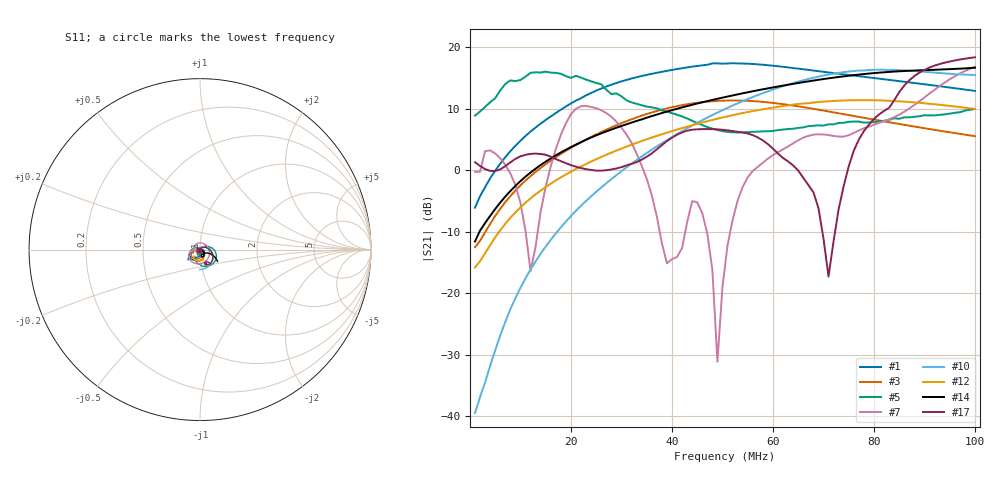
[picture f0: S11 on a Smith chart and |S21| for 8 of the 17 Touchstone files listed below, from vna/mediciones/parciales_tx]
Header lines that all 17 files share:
# HZ S RI R 50
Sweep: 1 MHz to 100 MHz
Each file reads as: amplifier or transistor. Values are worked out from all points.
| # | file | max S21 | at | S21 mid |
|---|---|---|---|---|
| 1 | t1__bga.s2p | 17.4 dB | 52 MHz | 17.4 dB at 51 MHz |
| 2 | t1__bga__fca_12v.s2p | 19.3 dB | 100 MHz | -13.2 dB at 51 MHz |
| 3 | t1__fca_12.s2p | 11.4 dB | 52 MHz | 11.4 dB at 51 MHz |
| 4 | t1__tx_amp_10v.s2p | 18.0 dB | 68 MHz | 17.2 dB at 51 MHz |
| 5 | t1__tx_amp_10v__fca_5v.s2p | 16.1 dB | 15 MHz | 6.3 dB at 51 MHz |
| 6 | t1__tx_amp_12v.s2p | 18.6 dB | 70 MHz | 17.5 dB at 51 MHz |
| 7 | t1__tx_amp_12v__fca_12v.s2p | 16.9 dB | 100 MHz | -12.2 dB at 51 MHz |
| 8 | t2__bga.s2p | 17.2 dB | 70 MHz | 15.4 dB at 51 MHz |
| 9 | t2__bga__fca_12v.s2p | 16.6 dB | 100 MHz | -13.6 dB at 51 MHz |
| 10 | t2__bga__t3.s2p | 16.4 dB | 82 MHz | 10.2 dB at 51 MHz |
| 11 | t2__bga__t3__fca12v.s2p | 18.1 dB | 100 MHz | 18.0 dB at 51 MHz |
| 12 | t2__fca_12v.s2p | 11.4 dB | 77 MHz | 8.8 dB at 51 MHz |
| 13 | t2__tx_amp_12v__fca_12v.s2p | 17.9 dB | 100 MHz | -6.3 dB at 51 MHz |
| 14 | t3__bga.s2p | 16.7 dB | 100 MHz | 12.0 dB at 51 MHz |
| 15 | t3__bga__fca_12v.s2p | 15.7 dB | 100 MHz | 9.0 dB at 51 MHz |
| 16 | t3__fca_12v.s2p | 11.5 dB | 100 MHz | 5.0 dB at 51 MHz |
| 17 | t3__tx_amp_12v__fca_12v.s2p | 18.4 dB | 100 MHz | 6.5 dB at 51 MHz |
